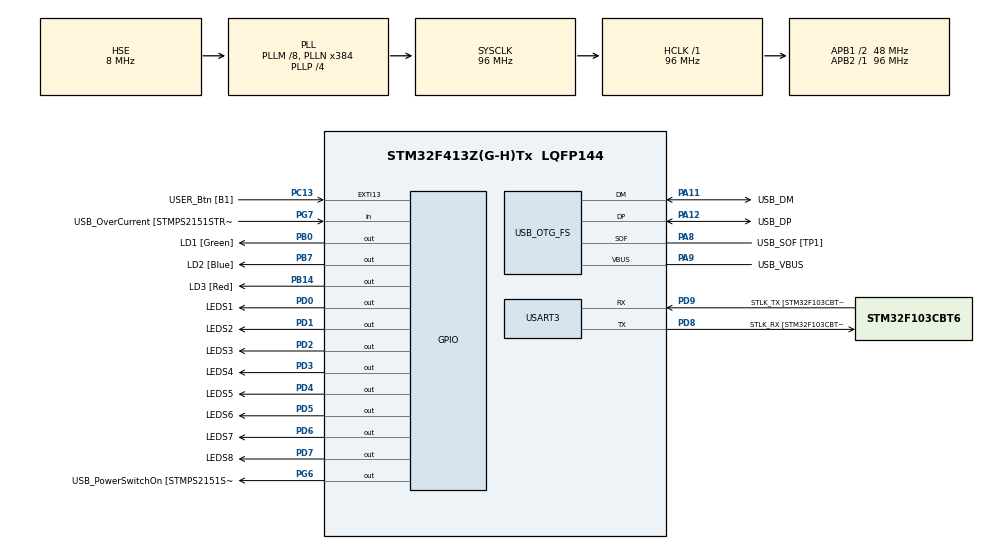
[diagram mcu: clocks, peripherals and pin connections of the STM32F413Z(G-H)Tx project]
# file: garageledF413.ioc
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Dma.Request0=TIM1_UP
Dma.TIM1_UP.0.Direction=DMA_MEMORY_TO_PERIPH
Dma.TIM1_UP.0.FIFOMode=DMA_FIFOMODE_DISABLE
Dma.TIM1_UP.0.Instance=DMA2_Stream5
Dma.TIM1_UP.0.MemDataAlignment=DMA_MDATAALIGN_BYTE
Dma.TIM1_UP.0.MemInc=DMA_MINC_ENABLE
Dma.TIM1_UP.0.Mode=DMA_NORMAL
Dma.TIM1_UP.0.PeriphDataAlignment=DMA_PDATAALIGN_BYTE
Dma.TIM1_UP.0.PeriphInc=DMA_PINC_DISABLE
Dma.TIM1_UP.0.Priority=DMA_PRIORITY_MEDIUM
Mcu.Family=STM32F4
Mcu.Name=STM32F413Z(G-H)Tx
Mcu.Package=LQFP144
NVIC.DMA2_Stream5_IRQn=true\:0\:0\:false\:false\:true\:false\:true\:true
NVIC.OTG_FS_IRQn=true\:0\:0\:false\:false\:true\:false\:true\:true
NVIC.PriorityGroup=NVIC_PRIORITYGROUP_4
PA10.GPIO_Label=USB_ID
PA10.Signal=USB_OTG_FS_ID
PA11.GPIO_Label=USB_DM
PA11.Mode=Device_Only
PA11.Signal=USB_OTG_FS_DM
PA12.GPIO_Label=USB_DP
PA12.Mode=Device_Only
PA12.Signal=USB_OTG_FS_DP
PA13.GPIO_Label=TMS
PA13.Mode=Serial_Wire
PA13.Signal=SYS_JTMS-SWDIO
PA14.GPIO_Label=TCK
PA14.Mode=Serial_Wire
PA14.Signal=SYS_JTCK-SWCLK
PA8.GPIO_Label=USB_SOF [TP1]
PA8.Mode=Activate_SOF_FS
PA8.Signal=USB_OTG_FS_SOF
PA9.GPIO_Label=USB_VBUS
PA9.Mode=Activate_VBUS
PA9.Signal=USB_OTG_FS_VBUS
PB0.GPIO_Label=LD1 [Green]
PB0.Signal=GPIO_Output
PB14.GPIO_Label=LD3 [Red]
PB14.Signal=GPIO_Output
PB3.GPIO_Label=SWO
PB3.Signal=SYS_JTDO-SWO
PB7.GPIO_Label=LD2 [Blue]
PB7.Signal=GPIO_Output
PC13.GPIO_Label=USER_Btn [B1]
PC13.Signal=GPXTI13
PC14-OSC32_IN.Mode=LSE-External-Oscillator
PC14-OSC32_IN.Signal=RCC_OSC32_IN
PC15-OSC32_OUT.Mode=LSE-External-Oscillator
PC15-OSC32_OUT.Signal=RCC_OSC32_OUT
PD0.GPIO_Label=LEDS1
PD0.Signal=GPIO_Output
PD1.GPIO_Label=LEDS2
PD1.Signal=GPIO_Output
PD2.GPIO_Label=LEDS3
PD2.Signal=GPIO_Output
PD3.GPIO_Label=LEDS4
PD3.Signal=GPIO_Output
PD4.GPIO_Label=LEDS5
PD4.Signal=GPIO_Output
PD5.GPIO_Label=LEDS6
PD5.Signal=GPIO_Output
PD6.GPIO_Label=LEDS7
PD6.Signal=GPIO_Output
PD7.GPIO_Label=LEDS8
PD7.Signal=GPIO_Output
PD8.GPIO_Label=STLK_RX [STM32F103CBT6_PA3]
PD8.Mode=Asynchronous
PD8.Signal=USART3_TX
PD9.GPIO_Label=STLK_TX [STM32F103CBT6_PA2]
PD9.Mode=Asynchronous
PD9.Signal=USART3_RX
PG6.GPIO_Label=USB_PowerSwitchOn [STMPS2151STR_EN]
PG6.Signal=GPIO_Output
PG7.GPIO_Label=USB_OverCurrent [STMPS2151STR_FAULT]
PG7.Signal=GPIO_Input
PH0\ -\ OSC_IN.GPIO_Label=MCO
PH0\ -\ OSC_IN.Mode=HSE-External-Clock-Source
PH0\ -\ OSC_IN.Signal=RCC_OSC_IN
PH1\ -\ OSC_OUT.Mode=HSE-External-Clock-Source
PH1\ -\ OSC_OUT.Signal=RCC_OSC_OUT
ProjectManager.HeapSize=0x200
ProjectManager.StackSize=0x400
ProjectManager.TargetToolchain=STM32CubeIDE
RCC.48MHZClocksFreq_Value=24000000
RCC.AHBFreq_Value=96000000
RCC.APB1CLKDivider=RCC_HCLK_DIV2
RCC.APB1Freq_Value=48000000
RCC.APB1TimFreq_Value=96000000
RCC.APB2Freq_Value=96000000
RCC.APB2TimFreq_Value=96000000
RCC.CortexFreq_Value=96000000
RCC.HCLKFreq_Value=96000000
RCC.HSE_VALUE=8000000
RCC.HSI_VALUE=16000000
RCC.PLLM=8
RCC.PLLMUL=RCC_PLL_MUL9
RCC.PLLN=384
RCC.PLLP=RCC_PLLP_DIV4
RCC.PLLQ=8
RCC.PRESCALERUSB=RCC_USBCLKSOURCE_PLL_DIV1_5
RCC.SYSCLKFreq_VALUE=96000000
RCC.SYSCLKSource=RCC_SYSCLKSOURCE_PLLCLK
RCC.SYSCLKSourceVirtual=RCC_SYSCLKSOURCE_PLLCLK
RCC.USBFreq_Value=48000000
RCC.VCOOutputFreq_Value=384000000
TIM1.Period=38
TIM1.TIM_MasterOutputTrigger=TIM_TRGO_UPDATE
USART3.VirtualMode=VM_ASYNC
USB_DEVICE.CLASS_NAME_FS=CDC
USB_DEVICE.VirtualMode=Cdc
USB_DEVICE.VirtualModeFS=Cdc_FS
USB_OTG_FS.VirtualMode=Device_Only
VP_TIM1_VS_ClockSourceINT.Mode=Internal
VP_USB_DEVICE_VS_USB_DEVICE_CDC_FS.Mode=CDC_FS
board=NUCLEO-F413ZH

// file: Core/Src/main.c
/* USER CODE BEGIN Header */
/**
  ******************************************************************************
  * @file           : main.c
  * @brief          : Main program body
  ******************************************************************************
  * @attention
  *
  * Copyright (c) 2023 STMicroelectronics.
  * All rights reserved.
  *
  * This software is licensed under terms that can be found in the LICENSE file
  * in the root directory of this software component.
  * If no LICENSE file comes with this software, it is provided AS-IS.
  *
  ******************************************************************************
  */
/* USER CODE END Header */
#include "main.h"
#include "usb_device.h"

/* USER CODE BEGIN Includes */
#include <errno.h>
#include <unistd.h>
#include <stdio.h>
#include "usbd_cdc_if.h"

/* USER CODE END Includes */

/* USER CODE BEGIN PD */
#define LEDSPERLINE 300
#define NUMLEDS (8*LEDSPERLINE)

// 3 bytes per bit, 24 bits per led plus padding on each end
#define DMAHEAD 4
#define DMATRAIL 140
#define DMALEN (DMAHEAD + LEDSPERLINE * 3 * 24 + DMATRAIL)

#define USBLINESIZE 64
/* USER CODE END PD */

TIM_HandleTypeDef htim1;
DMA_HandleTypeDef hdma_tim1_up;

UART_HandleTypeDef huart3;

/* USER CODE BEGIN PV */
unsigned char leds[NUMLEDS*3];
struct {
  unsigned char header[DMAHEAD];
  unsigned char data[LEDSPERLINE * 3 * 24];
  unsigned char trailer[DMATRAIL];
} dmabuffer[2]; // 2 copies for double buffering

int active_buffer=0;
int ledsupdated=0;

const uint8_t gamma8[] = {
    0, 0, 0, 0, 0, 0, 0, 0, 0, 0, 0, 0, 0, 0, 0, 0,
    0, 0, 0, 0, 0, 0, 0, 0, 0, 0, 0, 0, 1, 1, 1, 1,
    1, 1, 1, 1, 1, 1, 1, 1, 1, 2, 2, 2, 2, 2, 2, 2,
    2, 3, 3, 3, 3, 3, 3, 3, 4, 4, 4, 4, 4, 5, 5, 5,
    5, 6, 6, 6, 6, 7, 7, 7, 7, 8, 8, 8, 9, 9, 9, 10,
    10, 10, 11, 11, 11, 12, 12, 13, 13, 13, 14, 14, 15, 15, 16, 16,
    17, 17, 18, 18, 19, 19, 20, 20, 21, 21, 22, 22, 23, 24, 24, 25,
    25, 26, 27, 27, 28, 29, 29, 30, 31, 32, 32, 33, 34, 35, 35, 36,
    37, 38, 39, 39, 40, 41, 42, 43, 44, 45, 46, 47, 48, 49, 50, 50,
    51, 52, 54, 55, 56, 57, 58, 59, 60, 61, 62, 63, 64, 66, 67, 68,
    69, 70, 72, 73, 74, 75, 77, 78, 79, 81, 82, 83, 85, 86, 87, 89,
    90, 92, 93, 95, 96, 98, 99,101, 102,104,105,107,109,110,112,114,
    115,117,119,120,122,124,126,127, 129,131,133,135,137,138,140,142,
    144,146,148,150,152,154,156,158, 160,162,164,167,169,171,173,175,
    177,180,182,184,186,189,191,193, 196,198,200,203,205,208,210,213,
    215,218,220,223,225,228,231,233, 236,239,241,244,247,249,252,255 };

const uint8_t gamma5[32] = {
    0,1,2,3,4,5,6,7,8,10,13,16,20,25,30,36,
    43, 50, 59, 68, 78,89, 101, 114, 127, 142, 158, 175, 193, 213, 233, 236 };
/* USER CODE END PV */

void SystemClock_Config(void);
static void MX_GPIO_Init(void);
static void MX_DMA_Init(void);
static void MX_USART3_UART_Init(void);
static void MX_TIM1_Init(void);

/* USER CODE BEGIN 0 */

int _write(int file, char *data, int len) {
  if ((file != STDOUT_FILENO) && (file != STDERR_FILENO)) {
    errno = EBADF;
    return -1;
  }
#if 0
  int left = len;
  while (left--) {
    while (!__HAL_UART_GET_FLAG(&huart3, UART_FLAG_TXE));
    huart3.Instance->DR = *(data++);
  }

  while (!__HAL_UART_GET_FLAG(&huart3, UART_FLAG_TXE));
  while (!__HAL_UART_GET_FLAG(&huart3, UART_FLAG_TC));
#else
  CDC_Transmit_FS((uint8_t*)data, len);
#endif
  return len;
}

void blank_leds() {
  bzero(&dmabuffer, sizeof(dmabuffer));
  bzero(leds,sizeof(*leds));
  for (int b = 0; b < 2; b++)
    for (int i = 0; i < LEDSPERLINE; i++)
      for (int j = 0; j < 24; j++)
        dmabuffer[b].data[(i * 24 + j) * 3 + 0]=0xff;
  // Notably no need to set the zero bytes
}

// This routine updates single led into dmabuffer
// notably utilizing this does not properly work with double buffering
void update_led1(int n){
  const unsigned char bitset = 1 << (n / LEDSPERLINE);
  const int i = n % LEDSPERLINE;
  for (int j=0; j<3; j++) // RGB
    for (int k=0; k < 8; k++) {
      if (leds[n * 3 +j] & (128>>k))
        dmabuffer[active_buffer].data[(i * 24 + j * 8 + k) * 3 +1] |= bitset;
      else
        dmabuffer[active_buffer].data[(i * 24 + j * 8 + k) * 3 +1] &= ~bitset;
    }
}

// This routine updates the whole dmabuffer
void update_leds() {
  for (int i=0; i<LEDSPERLINE; i++)
    for (int j=0; j<3; j++) // RGB
      for (int k=0; k < 8; k++) {
        unsigned char bit = 128>>k;
        int offset = i * 3 +j;
        dmabuffer[active_buffer].data[(i*24 + j * 8 + k) * 3 +1] =
              ((leds[LEDSPERLINE*0*3 + offset] & bit) ? 1 : 0 )+
              ((leds[LEDSPERLINE*1*3 + offset] & bit) ? 2 : 0 )+
              ((leds[LEDSPERLINE*2*3 + offset] & bit) ? 4 : 0 )+
              ((leds[LEDSPERLINE*3*3 + offset] & bit) ? 8 : 0 )+
              ((leds[LEDSPERLINE*4*3 + offset] & bit) ? 16 : 0 )+
              ((leds[LEDSPERLINE*5*3 + offset] & bit) ? 32 : 0 )+
              ((leds[LEDSPERLINE*6*3 + offset] & bit) ? 64 : 0 )+
              ((leds[LEDSPERLINE*7*3 + offset] & bit) ? 128 : 0);
      }
}

void ledsetrgb(int led, unsigned char r, unsigned char g, unsigned char b) {
  if (led < NUMLEDS) {
    leds[led*3+0]=r;
    leds[led*3+1]=g;
    leds[led*3+2]=b;
  }
}

void usbline(char *line){
  int a,b,c,d;
  if (4 == sscanf(line,"%x %x %x %x",&a,&b,&c,&d)) {
    ledsetrgb(a,b,c,d);
    ledsupdated=1;
  }
}

void usbbyte(unsigned char c) {
#if 0
  static char usblinebuf[USBLINESIZE+1];
  static int  usblinelen = 0;

  switch (c) {
    case '\n':
    case '\r':
    case 0:
      if (usblinelen) {
        usblinebuf[usblinelen]=0;
        usbline(usblinebuf);
        usblinelen=0;
      }
      break;
    default:
      if (usblinelen < USBLINESIZE )
        usblinebuf[usblinelen++] = c;
      break;
  }
#else
  static char prevbyte = 0;
  static int hibyte = 0;
  static int ledno = -1;
  if ((prevbyte == 0xff) && (c == 0xff)) {
    // start of frame
    hibyte = 1;
    ledno = 0;
  } else if (hibyte) {
    // hibyte on packet
    if (c & 0x80) {
      // packet termination
      if (c != 0xff)
        ledsupdated = c - 0x7f;
      ledno=0;
    } else {
      hibyte = 0;
    }
  } else {
    // lobyte on packet
    hibyte = 1;
    unsigned short rgb15 = (prevbyte << 8) | (c);
    ledsetrgb(ledno++, gamma5[(rgb15>>10)&31], gamma5[(rgb15>>5)&31], gamma5[(rgb15)&31]);
  }
  prevbyte = c;
#endif
}

void usbdatain(unsigned char *buf, int len) {
  HAL_GPIO_WritePin(LD3_GPIO_Port, LD3_Pin, GPIO_PIN_SET);
  for (int i=0;i<len;i++)
    usbbyte(buf[i]);
  HAL_GPIO_WritePin(LD3_GPIO_Port, LD3_Pin, GPIO_PIN_RESET);
}
/* USER CODE END 0 */

int main(void)
{
  /* USER CODE BEGIN 1 */
  blank_leds();
  /* USER CODE END 1 */

  /* MCU Configuration--------------------------------------------------------*/

  /* Reset of all peripherals, Initializes the Flash interface and the Systick. */
  HAL_Init();

  /* Configure the system clock */
  SystemClock_Config();

  /* Initialize all configured peripherals */
  MX_GPIO_Init();
  MX_DMA_Init();
  MX_USART3_UART_Init();
  MX_TIM1_Init();
  MX_USB_DEVICE_Init();
  /* USER CODE BEGIN 2 */
  HAL_TIM_Base_Start(&htim1);
  /* USER CODE END 2 */

  /* Infinite loop */
  while (1)
  {

    /* USER CODE BEGIN 3 */
    HAL_DMA_Start(&hdma_tim1_up, (uint32_t)&dmabuffer[active_buffer], (uint32_t)&GPIOD->ODR, DMALEN);
    active_buffer=!active_buffer; // switch buffer to write to
    while (!ledsupdated) HAL_Delay(1);
    HAL_GPIO_WritePin(LD1_GPIO_Port, LD1_Pin, GPIO_PIN_SET);
    if (ledsupdated == 2) {
      blank_leds();
      ledsupdated = 0;
    } else if (ledsupdated == 3){
      // FADEOUT
      for (int i=0; i<NUMLEDS*3; i++)
        leds[i]>>=1;
    }
    if (ledsupdated) {
      ledsupdated = 0;
      update_leds();
    }
    // Ensure previous transfer has completed
    HAL_DMA_PollForTransfer(&hdma_tim1_up, HAL_DMA_FULL_TRANSFER, 50000);
    HAL_GPIO_WritePin(LD1_GPIO_Port, LD1_Pin, GPIO_PIN_RESET);
  }
  /* USER CODE END 3 */
}

void SystemClock_Config(void)
{
  RCC_OscInitTypeDef RCC_OscInitStruct = {0};
  RCC_ClkInitTypeDef RCC_ClkInitStruct = {0};

  /** Configure the main internal regulator output voltage
  */
  __HAL_RCC_PWR_CLK_ENABLE();
  __HAL_PWR_VOLTAGESCALING_CONFIG(PWR_REGULATOR_VOLTAGE_SCALE1);

  /** Initializes the RCC Oscillators according to the specified parameters
  * in the RCC_OscInitTypeDef structure.
  */
  RCC_OscInitStruct.OscillatorType = RCC_OSCILLATORTYPE_HSE;
  RCC_OscInitStruct.HSEState = RCC_HSE_BYPASS;
  RCC_OscInitStruct.PLL.PLLState = RCC_PLL_ON;
  RCC_OscInitStruct.PLL.PLLSource = RCC_PLLSOURCE_HSE;
  RCC_OscInitStruct.PLL.PLLM = 8;
  RCC_OscInitStruct.PLL.PLLN = 384;
  RCC_OscInitStruct.PLL.PLLP = RCC_PLLP_DIV4;
  RCC_OscInitStruct.PLL.PLLQ = 8;
  RCC_OscInitStruct.PLL.PLLR = 2;
  if (HAL_RCC_OscConfig(&RCC_OscInitStruct) != HAL_OK)
  {
    Error_Handler();
  }

  /** Initializes the CPU, AHB and APB buses clocks
  */
  RCC_ClkInitStruct.ClockType = RCC_CLOCKTYPE_HCLK|RCC_CLOCKTYPE_SYSCLK
                              |RCC_CLOCKTYPE_PCLK1|RCC_CLOCKTYPE_PCLK2;
  RCC_ClkInitStruct.SYSCLKSource = RCC_SYSCLKSOURCE_PLLCLK;
  RCC_ClkInitStruct.AHBCLKDivider = RCC_SYSCLK_DIV1;
  RCC_ClkInitStruct.APB1CLKDivider = RCC_HCLK_DIV2;
  RCC_ClkInitStruct.APB2CLKDivider = RCC_HCLK_DIV1;

  if (HAL_RCC_ClockConfig(&RCC_ClkInitStruct, FLASH_LATENCY_3) != HAL_OK)
  {
    Error_Handler();
  }
}

static void MX_TIM1_Init(void)
{

  TIM_ClockConfigTypeDef sClockSourceConfig = {0};
  TIM_MasterConfigTypeDef sMasterConfig = {0};

  htim1.Instance = TIM1;
  htim1.Init.Prescaler = 0;
  htim1.Init.CounterMode = TIM_COUNTERMODE_UP;
  htim1.Init.Period = 38;
  htim1.Init.ClockDivision = TIM_CLOCKDIVISION_DIV1;
  htim1.Init.RepetitionCounter = 0;
  htim1.Init.AutoReloadPreload = TIM_AUTORELOAD_PRELOAD_DISABLE;
  if (HAL_TIM_Base_Init(&htim1) != HAL_OK)
  {
    Error_Handler();
  }
  sClockSourceConfig.ClockSource = TIM_CLOCKSOURCE_INTERNAL;
  if (HAL_TIM_ConfigClockSource(&htim1, &sClockSourceConfig) != HAL_OK)
  {
    Error_Handler();
  }
  sMasterConfig.MasterOutputTrigger = TIM_TRGO_UPDATE;
  sMasterConfig.MasterSlaveMode = TIM_MASTERSLAVEMODE_DISABLE;
  if (HAL_TIMEx_MasterConfigSynchronization(&htim1, &sMasterConfig) != HAL_OK)
  {
    Error_Handler();
  }
  /* USER CODE BEGIN TIM1_Init 2 */
  __HAL_TIM_ENABLE_DMA(&htim1, TIM_DMA_UPDATE);
  /* USER CODE END TIM1_Init 2 */

}

static void MX_USART3_UART_Init(void)
{

  huart3.Instance = USART3;
  huart3.Init.BaudRate = 115200;
  huart3.Init.WordLength = UART_WORDLENGTH_8B;
  huart3.Init.StopBits = UART_STOPBITS_1;
  huart3.Init.Parity = UART_PARITY_NONE;
  huart3.Init.Mode = UART_MODE_TX_RX;
  huart3.Init.HwFlowCtl = UART_HWCONTROL_NONE;
  huart3.Init.OverSampling = UART_OVERSAMPLING_16;
  if (HAL_UART_Init(&huart3) != HAL_OK)
  {
    Error_Handler();
  }

}

static void MX_DMA_Init(void)
{

  /* DMA controller clock enable */
  __HAL_RCC_DMA2_CLK_ENABLE();

  /* DMA interrupt init */
  /* DMA2_Stream5_IRQn interrupt configuration */
  HAL_NVIC_SetPriority(DMA2_Stream5_IRQn, 0, 0);
  HAL_NVIC_EnableIRQ(DMA2_Stream5_IRQn);

}

static void MX_GPIO_Init(void)
{
  GPIO_InitTypeDef GPIO_InitStruct = {0};

  /* GPIO Ports Clock Enable */
  __HAL_RCC_GPIOC_CLK_ENABLE();
  __HAL_RCC_GPIOH_CLK_ENABLE();
  __HAL_RCC_GPIOB_CLK_ENABLE();
  __HAL_RCC_GPIOD_CLK_ENABLE();
  __HAL_RCC_GPIOG_CLK_ENABLE();
  __HAL_RCC_GPIOA_CLK_ENABLE();

  /*Configure GPIO pin Output Level */
  HAL_GPIO_WritePin(GPIOB, LD1_Pin|LD3_Pin|LD2_Pin, GPIO_PIN_RESET);

  /*Configure GPIO pin Output Level */
  HAL_GPIO_WritePin(USB_PowerSwitchOn_GPIO_Port, USB_PowerSwitchOn_Pin, GPIO_PIN_RESET);

  /*Configure GPIO pin Output Level */
  HAL_GPIO_WritePin(GPIOD, LEDS1_Pin|LEDS2_Pin|LEDS3_Pin|LEDS4_Pin
                          |LEDS5_Pin|LEDS6_Pin|LEDS7_Pin|LEDS8_Pin, GPIO_PIN_RESET);

  /*Configure GPIO pin : USER_Btn_Pin */
  GPIO_InitStruct.Pin = USER_Btn_Pin;
  GPIO_InitStruct.Mode = GPIO_MODE_IT_RISING;
  GPIO_InitStruct.Pull = GPIO_NOPULL;
  HAL_GPIO_Init(USER_Btn_GPIO_Port, &GPIO_InitStruct);

  /*Configure GPIO pins : LD1_Pin LD3_Pin LD2_Pin */
  GPIO_InitStruct.Pin = LD1_Pin|LD3_Pin|LD2_Pin;
  GPIO_InitStruct.Mode = GPIO_MODE_OUTPUT_PP;
  GPIO_InitStruct.Pull = GPIO_NOPULL;
  GPIO_InitStruct.Speed = GPIO_SPEED_FREQ_LOW;
  HAL_GPIO_Init(GPIOB, &GPIO_InitStruct);

  /*Configure GPIO pin : USB_PowerSwitchOn_Pin */
  GPIO_InitStruct.Pin = USB_PowerSwitchOn_Pin;
  GPIO_InitStruct.Mode = GPIO_MODE_OUTPUT_PP;
  GPIO_InitStruct.Pull = GPIO_NOPULL;
  GPIO_InitStruct.Speed = GPIO_SPEED_FREQ_LOW;
  HAL_GPIO_Init(USB_PowerSwitchOn_GPIO_Port, &GPIO_InitStruct);

  /*Configure GPIO pin : USB_OverCurrent_Pin */
  GPIO_InitStruct.Pin = USB_OverCurrent_Pin;
  GPIO_InitStruct.Mode = GPIO_MODE_INPUT;
  GPIO_InitStruct.Pull = GPIO_NOPULL;
  HAL_GPIO_Init(USB_OverCurrent_GPIO_Port, &GPIO_InitStruct);

  /*Configure GPIO pins : LEDS1_Pin LEDS2_Pin LEDS3_Pin LEDS4_Pin
                           LEDS5_Pin LEDS6_Pin LEDS7_Pin LEDS8_Pin */
  GPIO_InitStruct.Pin = LEDS1_Pin|LEDS2_Pin|LEDS3_Pin|LEDS4_Pin
                          |LEDS5_Pin|LEDS6_Pin|LEDS7_Pin|LEDS8_Pin;
  GPIO_InitStruct.Mode = GPIO_MODE_OUTPUT_PP;
  GPIO_InitStruct.Pull = GPIO_NOPULL;
  GPIO_InitStruct.Speed = GPIO_SPEED_FREQ_LOW;
  HAL_GPIO_Init(GPIOD, &GPIO_InitStruct);

}

void Error_Handler(void)
{
  __disable_irq();
  while (1)
  {
  }
}
